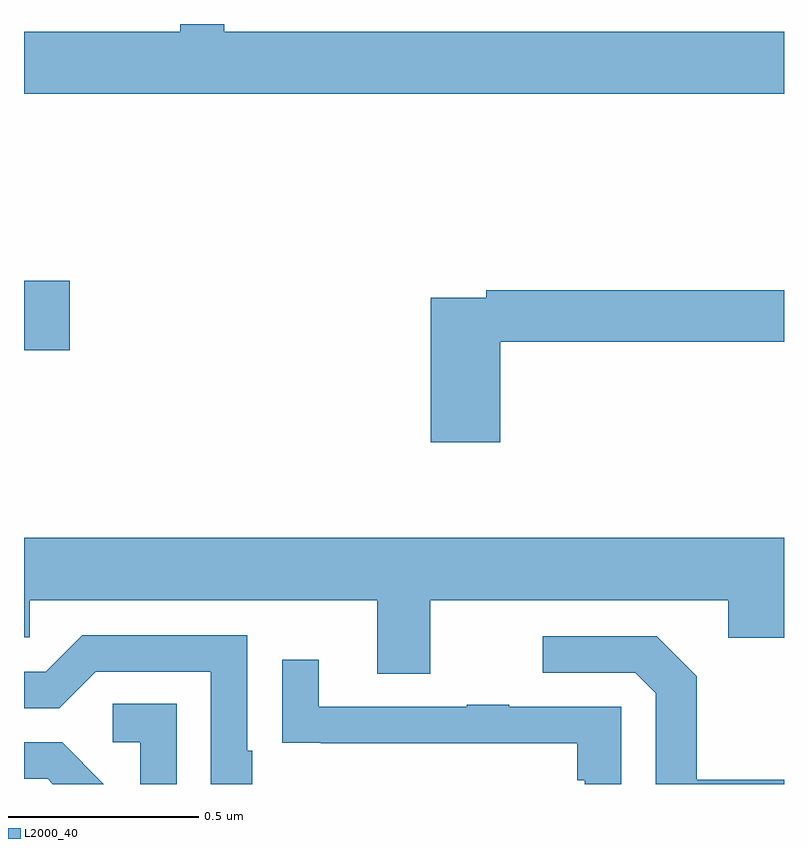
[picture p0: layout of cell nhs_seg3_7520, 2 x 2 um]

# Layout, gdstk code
import gdstk
lib = gdstk.Library(unit=1e-6, precision=1e-09)
def R(c, l, rs):  # rectangles x0, y0, x1, y1
    for r in rs: c.add(gdstk.rectangle(r[:2], r[2:], *l))
def P(c, l, *ps):  # polygons
    for p in ps: c.add(gdstk.Polygon(p, *l))
L2000_40 = (2000, 40)

nhs_seg3_7520 = lib.new_cell('nhs_seg3_7520')
R(nhs_seg3_7520, L2000_40, [(204,733.541,204.121,733.724)])
P(nhs_seg3_7520, L2000_40, [(206,734.38),(204.527,734.38),(204.527,734.4),(204.411,734.4),(204.411,734.38),(204,734.38),(204,734.216),(206,734.216)],
  [(205.253,733.564),(206,733.564),(206,733.7),(205.216,733.7),(205.216,733.68),(205.07,733.68),(205.07,733.299),(205.253,733.299)],
  [(205.069,732.884),(205.853,732.884),(205.853,732.785),(206,732.785),(206,733.048),(204,733.048),(204,732.786),(204.015,732.786),(204.015,732.884),(204.929,732.884),(204.929,732.69),(205.069,732.69)],
  [(204.601,732.487),(204.588,732.487),(204.588,732.792),(204.153,732.792),(204.057,732.696),(204,732.696),(204,732.6),(204.093,732.6),(204.189,732.696),(204.492,732.696),(204.492,732.4),(204.601,732.4)],
  [(206,732.411),(205.771,732.411),(205.771,732.683),(205.665,732.789),(205.365,732.789),(205.365,732.693),(205.608,732.693),(205.662,732.639),(205.662,732.4),(206,732.4)],
  [(205.572,732.603),(205.277,732.603),(205.277,732.608),(205.165,732.608),(205.165,732.603),(204.775,732.603),(204.775,732.727),(204.679,732.727),(204.679,732.508),(204.781,732.508),(204.781,732.507),(205.456,732.507),(205.456,732.41),(205.476,732.41),(205.476,732.4),(205.572,732.4)],
  [(204.402,732.611),(204.234,732.611),(204.234,732.51),(204.306,732.51),(204.306,732.4),(204.402,732.4)],
  [(204.1,732.51),(204,732.51),(204,732.414),(204.062,732.414),(204.076,732.4),(204.21,732.4)])

lib.write_gds('nhs_seg3_7520.gds')
